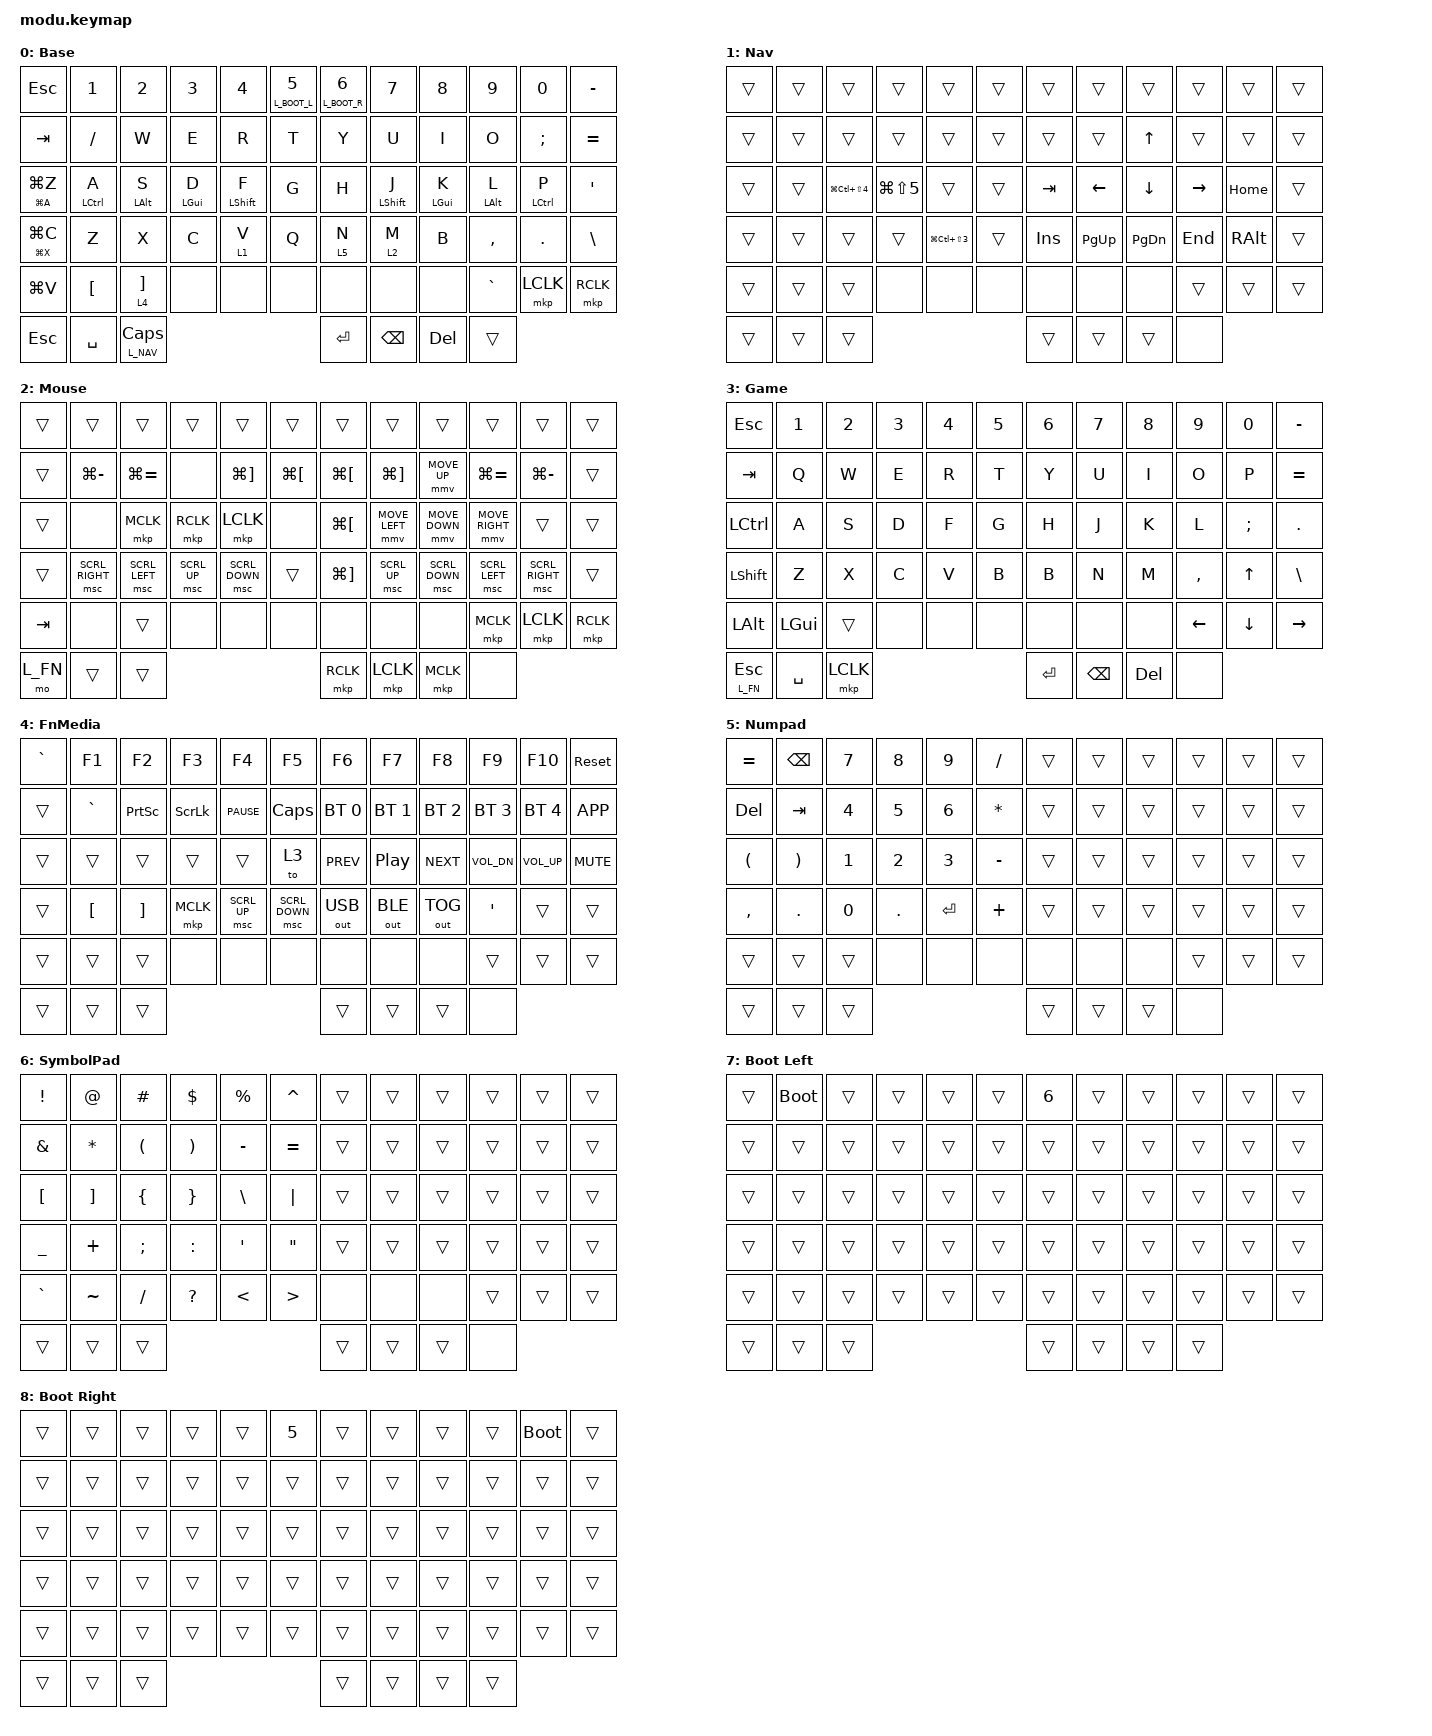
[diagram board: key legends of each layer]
/*
 * MODU-C dongle configuration -- user layout retained from supplied ZIP.
 * Original MODU material: Copyright (c) 2026 EKS Inc.; created by Ryu.
 * SPDX-License-Identifier: LicenseRef-EKS-NonCommercial-1.0
 * Unofficial non-commercial modification; preserve LICENSE and NOTICE.md.
 *
 * Base=0, Nav=1, Mouse=2, Game=3, FnMedia=4, Numpad=5, SymbolPad=6.
 * Base: hold 5 alone for 3s, keep holding and tap 1 -> left boot.
 * Base: hold 6 alone for 3s, keep holding and tap 0 -> right boot.
 * Boot uses standard positional hold-taps + direct source-specific &bootloader.
 * Base typing combos: D+F -> Caps Lock, S+D -> Space.
 * Base left macro column: Tab -> Undo/Select -> Cut/Copy -> Paste.
 * Hold right Backspace for Numpad; hold right Enter for SymbolPad.
 * Hold the far-left thumb Escape for Fn; tap behavior remains Escape.
 * Hold the center-left thumb Space for Mouse; tap behavior remains Space.
 * No custom boot behavior required. Existing hardware/trackball modules remain required.
 * No RGB underglow bindings or RGB include are used.
 * Base placeholders 51..56; slot 66 is neutral, not assumed nonexistent.
 * Board/trackball source revisions and metadata are retained from the ZIP.
 * Firmware build and physical tests are separate from source/host tests.
 */
/* 2026-09-15 full dongle configuration.
 * The dongle executes this keymap; both MODU-C halves are peripherals.
 * Start on Base; release all keys, pause 300 ms, hold 5/6 alone for 3 seconds,
 * then press 1/0 while keeping the gate held. The final physical key supplies
 * the source half for the standard bootloader behavior.
 * Not a hardware recovery gesture: a working split connection is required.
 */

#define L_BASE  0
#define L_NAV   1
#define L_MOUSE 2
#define L_GAME  3
#define L_FN    4
#define L_NUM   5
#define L_SYM   6
#define L_BOOT_L 7
#define L_BOOT_R 8
#define ZMK_POINTING_DEFAULT_MOVE_VAL 1200
#define ZMK_POINTING_DEFAULT_SCRL_VAL 25

#include <input/processors.dtsi>
#include <zephyr/dt-bindings/input/input-event-codes.h>
#include <behaviors.dtsi>
#include <dt-bindings/zmk/bt.h>
#include <dt-bindings/zmk/keys.h>
#include <dt-bindings/zmk/outputs.h>
#include <dt-bindings/zmk/pointing.h>

/* Only keyboard-generated mouse motion/scroll. Not the physical trackball. */

&mmv_input_listener { input-processors = <&zip_xy_scaler 2 1>; };

&msc_input_listener { input-processors = <&zip_scroll_scaler 2 1>; };

&msc {
    acceleration-exponent = <1>;
    time-to-max-speed-ms = <100>;
    delay-ms = <0>;
};

&mmv {
    time-to-max-speed-ms = <500>;
    acceleration-exponent = <1>;
    trigger-period-ms = <16>;
};

/ {
    behaviors {
        /* Isolated 3-second layer taps; do NOT change global &lt or &mt.
         * Self-only positional lists are intentional. Before the timer fires,
         * EVERY different physical key forces the tap/number action instead
         * of activating the boot layer. hold-preferred makes that decision
         * immediately; decide_positional_hold then overrides it to TAP.
         * After 3000 ms alone, the momentary layer can activate normally.
         * Verified against the pinned ZMK source, not a physical firmware test.
         */

        blt5: boot_hold_left {
            compatible = "zmk,behavior-hold-tap";
            #binding-cells = <2>;
            display-name = "5: tap number / hold 3s to arm left boot";
            bindings = <&mo>, <&kp>;

            tapping-term-ms = <3000>;
            flavor = "hold-preferred";
            hold-trigger-key-positions = <5>;
            quick-tap-ms = <200>;
            require-prior-idle-ms = <300>;
        };

        blt6: boot_hold_right {
            compatible = "zmk,behavior-hold-tap";
            #binding-cells = <2>;
            display-name = "6: tap number / hold 3s to arm right boot";
            bindings = <&mo>, <&kp>;

            tapping-term-ms = <3000>;
            flavor = "hold-preferred";
            hold-trigger-key-positions = <6>;
            quick-tap-ms = <200>;
            require-prior-idle-ms = <300>;
        };

        hm200: hm200 {
            compatible = "zmk,behavior-hold-tap";
            display-name = "Homerow Mods 200ms";
            bindings = <&kp>, <&kp>;

            #binding-cells = <2>;
            tapping-term-ms = <200>;
            quick-tap-ms = <130>;
            require-prior-idle-ms = <(-1)>;
            flavor = "tap-preferred";
        };

        hm250: hm250 {
            compatible = "zmk,behavior-hold-tap";
            display-name = "Homerow Mods 250ms";
            bindings = <&kp>, <&kp>;

            #binding-cells = <2>;
            tapping-term-ms = <250>;
            quick-tap-ms = <130>;
            require-prior-idle-ms = <(-1)>;
            flavor = "tap-preferred";
        };
    };

    combos {
        compatible = "zmk,combos";

        /* Typing combos are active only on Base. */

        enter {
            timeout-ms = <50>;
            key-positions = <33 32>;
            bindings = <&kp ENTER>;
            layers = <L_BASE>;
        };

        back_space {
            timeout-ms = <50>;
            key-positions = <31 32>;
            bindings = <&kp BACKSPACE>;
            layers = <L_BASE>;
        };

        caps_df {
            timeout-ms = <50>;
            key-positions = <27 28>;
            bindings = <&kp CAPSLOCK>;
            layers = <L_BASE>;
        };

        space_sd {
            timeout-ms = <50>;
            key-positions = <26 27>;
            bindings = <&kp SPACE>;
            layers = <L_BASE>;
        };

        /* Intentional pairing-clear gesture: Nav held, then the 1 and 0 number keys together.
         * Clears only the selected Bluetooth profile.
         */

        bluetooth_clear {
            timeout-ms = <50>;
            require-prior-idle-ms = <300>;
            key-positions = <1 10>;
            bindings = <&bt BT_CLR>;
            layers = <L_NAV>;
        };
    };

    keymap {
        compatible = "zmk,keymap";

        // Base: left macro column moved down so Tab sits at the top.

        default_layer {
            display-name = "Base";
            bindings = <
&kp ESCAPE       &kp N1          &kp N2              &kp N3             &kp N4          &blt5 L_BOOT_L N5  &blt6 L_BOOT_R N6  &kp N7          &kp N8             &kp N9         &kp N0          &kp MINUS
&kp TAB          &kp SLASH       &kp W               &kp E              &kp R           &kp T              &kp Y              &kp U           &kp I              &kp O          &kp SEMICOLON   &kp EQUAL
&mt LG(A) LG(Z)  &hm250 LCTRL A  &hm200 LALT S       &hm200 LEFT_GUI D  &hm200 LSHFT F  &kp G              &kp H              &hm200 LSHFT J  &hm200 LEFT_GUI K  &hm200 LALT L  &hm250 LCTRL P  &kp APOS
&mt LG(X) LG(C)  &kp Z           &kp X               &kp C              &lt 1 V         &kp Q              &lt 5 N            &lt 2 M         &kp B              &kp COMMA      &kp PERIOD      &kp BSLH
&kp LG(V)        &kp LBKT        &lt 4 RBKT          &none              &none           &none              &none              &none           &none              &kp GRAVE      &mkp LCLK       &mkp RCLK
&kp ESCAPE       &kp SPACE       &lt L_NAV CAPSLOCK                                                        &kp ENTER          &kp BACKSPACE   &kp DEL            &trans
            >;
        };

        // Nav; node name lower_layer retained for compatibility with existing repo checks.

        lower_layer {
            display-name = "Nav";
            bindings = <
&trans  &trans  &trans              &trans          &trans              &trans  &trans   &trans     &trans     &trans     &trans    &trans
&trans  &trans  &trans              &trans          &trans              &trans  &trans   &trans     &kp UP     &trans     &trans    &trans
&trans  &trans  &kp LG(LC(LS(N4)))  &kp LG(LS(N5))  &trans              &trans  &kp TAB  &kp LEFT   &kp DOWN   &kp RIGHT  &kp HOME  &trans
&trans  &trans  &trans              &trans          &kp LG(LC(LS(N3)))  &trans  &kp INS  &kp PG_UP  &kp PG_DN  &kp END    &kp RALT  &trans
&trans  &trans  &trans              &none           &none               &none   &none    &none      &none      &trans     &trans    &trans
&trans  &trans  &trans                                                          &trans   &trans     &trans     &none
            >;
        };

        // Mouse mode; 0 returns to Base. The far-left thumb temporarily activates FnMedia.

        Mouse {
            display-name = "Mouse";
            bindings = <
&trans    &trans           &trans          &trans        &trans          &trans        &trans        &trans          &trans          &trans           &trans           &trans
&trans    &kp LG(MINUS)    &kp LG(EQUAL)   &none         &kp LG(RBKT)    &kp LG(LBKT)  &kp LG(LBKT)  &kp LG(RBKT)    &mmv MOVE_UP    &kp LG(EQUAL)    &kp LG(MINUS)    &trans
&trans    &none            &mkp MCLK       &mkp RCLK     &mkp LCLK       &none         &kp LG(LBKT)  &mmv MOVE_LEFT  &mmv MOVE_DOWN  &mmv MOVE_RIGHT  &trans           &trans
&trans    &msc SCRL_RIGHT  &msc SCRL_LEFT  &msc SCRL_UP  &msc SCRL_DOWN  &trans        &kp LG(RBKT)  &msc SCRL_UP    &msc SCRL_DOWN  &msc SCRL_LEFT   &msc SCRL_RIGHT  &trans
&kp TAB   &none            &trans          &none         &none           &none         &none         &none           &none           &mkp MCLK        &mkp LCLK        &mkp RCLK
&mo L_FN  &trans           &trans                                                      &mkp RCLK     &mkp LCLK       &mkp MCLK       &none
            >;
        };

        // Gaming: plain key/button presses; 0 returns to Base. Dot moved from 46 to 35.

        game {
            display-name = "Game";
            bindings = <
&kp ESCAPE    &kp N1        &kp N2     &kp N3  &kp N4  &kp N5  &kp N6     &kp N7         &kp N8      &kp N9     &kp N0         &kp MINUS
&kp TAB       &kp Q         &kp W      &kp E   &kp R   &kp T   &kp Y      &kp U          &kp I       &kp O      &kp P          &kp EQUAL
&kp LCTRL     &kp A         &kp S      &kp D   &kp F   &kp G   &kp H      &kp J          &kp K       &kp L      &kp SEMICOLON  &kp PERIOD
&kp LSHFT     &kp Z         &kp X      &kp C   &kp V   &kp B   &kp B      &kp N          &kp M       &kp COMMA  &kp UP         &kp BSLH
&kp LEFT_ALT  &kp LEFT_GUI  &trans     &none   &none   &none   &none      &none          &none       &kp LEFT   &kp DOWN       &kp RIGHT
&lt L_FN ESC  &kp SPACE     &mkp LCLK                          &kp ENTER  &kp BACKSPACE  &kp DELETE  &none
            >;
        };

        // Fn + media layer retained. Playback/volume live on the right-center row.

        FnMedia {
            display-name = "FnMedia";
            bindings = <
&kp GRAVE  &kp F1     &kp F2     &kp F3     &kp F4        &kp F5          &kp F6        &kp F7        &kp F8        &kp F9        &kp F10       &sys_reset
&trans     &kp GRAVE  &kp PSCRN  &kp SLCK   &kp C_PAUSE   &kp CAPSLOCK    &bt BT_SEL 0  &bt BT_SEL 1  &bt BT_SEL 2  &bt BT_SEL 3  &bt BT_SEL 4  &kp K_APP
&trans     &trans     &trans     &trans     &trans        &to 3           &kp C_PREV    &kp C_PP      &kp C_NEXT    &kp C_VOL_DN  &kp C_VOL_UP  &kp C_MUTE
&trans     &kp LBKT   &kp RBKT   &mkp MCLK  &msc SCRL_UP  &msc SCRL_DOWN  &out OUT_USB  &out OUT_BLE  &out OUT_TOG  &kp APOS      &trans        &trans
&trans     &trans     &trans     &none      &none         &none           &none         &none         &none         &trans        &trans        &trans
&trans     &trans     &trans                                              &trans        &trans        &trans        &none
            >;
        };

        // Numpad: hold right Backspace. Left hand is a calculator-style 4x4 pad.
        // Uses regular number-row HID codes, so it does not depend on Num Lock state.

        Numpad {
            display-name = "Numpad";
            bindings = <
&kp EQUAL  &kp BSPC  &kp N7  &kp N8      &kp N9     &kp FSLH   &trans  &trans  &trans  &trans  &trans  &trans
&kp DEL    &kp TAB   &kp N4  &kp N5      &kp N6     &kp ASTRK  &trans  &trans  &trans  &trans  &trans  &trans
&kp LPAR   &kp RPAR  &kp N1  &kp N2      &kp N3     &kp MINUS  &trans  &trans  &trans  &trans  &trans  &trans
&kp COMMA  &kp DOT   &kp N0  &kp PERIOD  &kp ENTER  &kp PLUS   &trans  &trans  &trans  &trans  &trans  &trans
&trans     &trans    &trans  &none       &none      &none      &none   &none   &none   &trans  &trans  &trans
&trans     &trans    &trans                                    &trans  &trans  &trans  &none
            >;
        };

        // SymbolPad: hold Enter. Common symbols are concentrated on the left hand.

        SymbolPad {
            display-name = "SymbolPad";
            bindings = <
&kp EXCL   &kp AT     &kp HASH  &kp DLLR   &kp PRCNT  &kp CARET  &trans  &trans  &trans  &trans  &trans  &trans
&kp AMPS   &kp ASTRK  &kp LPAR  &kp RPAR   &kp MINUS  &kp EQUAL  &trans  &trans  &trans  &trans  &trans  &trans
&kp LBKT   &kp RBKT   &kp LBRC  &kp RBRC   &kp BSLH   &kp PIPE   &trans  &trans  &trans  &trans  &trans  &trans
&kp UNDER  &kp PLUS   &kp SEMI  &kp COLON  &kp SQT    &kp DQT    &trans  &trans  &trans  &trans  &trans  &trans
&kp GRAVE  &kp TILDE  &kp FSLH  &kp QMARK  &kp LT     &kp GT     &none   &none   &none   &trans  &trans  &trans
&trans     &trans     &trans                                     &trans  &trans  &trans  &none
            >;
        };

        // Boot Left: only the corresponding physical key can request bootloader.
        // Transparent entries preserve ordinary keys; releasing 5/6 exits.

        boot_left_layer {
            display-name = "Boot Left";
            bindings = <
&trans  &bootloader  &trans  &trans  &trans  &trans  &kp N6  &trans  &trans  &trans  &trans  &trans
&trans  &trans       &trans  &trans  &trans  &trans  &trans  &trans  &trans  &trans  &trans  &trans
&trans  &trans       &trans  &trans  &trans  &trans  &trans  &trans  &trans  &trans  &trans  &trans
&trans  &trans       &trans  &trans  &trans  &trans  &trans  &trans  &trans  &trans  &trans  &trans
&trans  &trans       &trans  &trans  &trans  &trans  &trans  &trans  &trans  &trans  &trans  &trans
&trans  &trans       &trans                          &trans  &trans  &trans  &trans
            >;
        };

        // Boot Right: only the corresponding physical key can request bootloader.
        // Transparent entries preserve ordinary keys; releasing 5/6 exits.

        boot_right_layer {
            display-name = "Boot Right";
            bindings = <
&trans  &trans  &trans  &trans  &trans  &kp N5  &trans  &trans  &trans  &trans  &bootloader  &trans
&trans  &trans  &trans  &trans  &trans  &trans  &trans  &trans  &trans  &trans  &trans       &trans
&trans  &trans  &trans  &trans  &trans  &trans  &trans  &trans  &trans  &trans  &trans       &trans
&trans  &trans  &trans  &trans  &trans  &trans  &trans  &trans  &trans  &trans  &trans       &trans
&trans  &trans  &trans  &trans  &trans  &trans  &trans  &trans  &trans  &trans  &trans       &trans
&trans  &trans  &trans                          &trans  &trans  &trans  &trans
            >;
        };
    };
};
